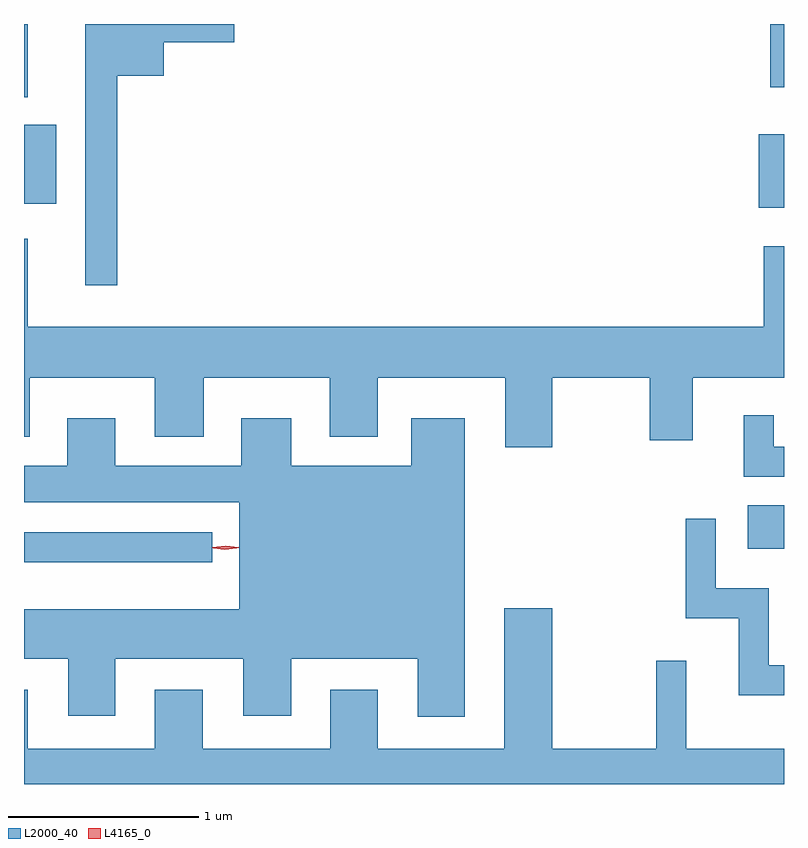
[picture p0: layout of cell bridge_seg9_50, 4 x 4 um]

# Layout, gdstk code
import gdstk
lib = gdstk.Library(unit=1e-6, precision=1e-09)
def R(c, l, rs):  # rectangles x0, y0, x1, y1
    for r in rs: c.add(gdstk.rectangle(r[:2], r[2:], *l))
def P(c, l, *ps):  # polygons
    for p in ps: c.add(gdstk.Polygon(p, *l))
L2000_40 = (2000, 40)
L4165_0 = (4165, 0)

bridge_seg9_50 = lib.new_cell('bridge_seg9_50')
R(bridge_seg9_50, L2000_40, [(1500.138,1990.846,1501.128,1991.004), (1503.946,1990.916,1504.138,1991.144), (1504.006,1992.711,1504.138,1993.099), (1500.138,1992.731,1500.309,1993.149), (1500.138,1993.293,1500.159,1993.678), (1504.066,1993.346,1504.138,1993.678)])
P(bridge_seg9_50, L2000_40, [(1500.629,1993.406),(1500.874,1993.406),(1500.874,1993.581),(1501.244,1993.581),(1501.244,1993.678),(1500.461,1993.678),(1500.461,1992.303),(1500.629,1992.303)],
  [(1502.919,1991.816),(1503.431,1991.816),(1503.431,1991.486),(1503.659,1991.486),(1503.659,1991.816),(1504.138,1991.816),(1504.138,1992.509),(1504.031,1992.509),(1504.031,1992.084),(1500.159,1992.084),(1500.159,1992.548),(1500.138,1992.548),(1500.138,1991.506),(1500.169,1991.506),(1500.169,1991.816),(1500.826,1991.816),(1500.826,1991.506),(1501.084,1991.506),(1501.084,1991.816),(1501.746,1991.816),(1501.746,1991.506),(1501.999,1991.506),(1501.999,1991.816),(1502.671,1991.816),(1502.671,1991.451),(1502.919,1991.451)],
  [(1504.138,1991.454),(1504.084,1991.454),(1504.084,1991.618),(1503.926,1991.618),(1503.926,1991.296),(1504.138,1991.296)],
  [(1502.459,1991.604),(1502.176,1991.604),(1502.176,1991.354),(1501.544,1991.354),(1501.544,1991.604),(1501.281,1991.604),(1501.281,1991.354),(1500.619,1991.354),(1500.619,1991.604),(1500.366,1991.604),(1500.366,1991.354),(1500.138,1991.354),(1500.138,1991.161),(1501.271,1991.161),(1501.271,1990.599),(1500.138,1990.599),(1500.138,1990.336),(1500.371,1990.336),(1500.371,1990.036),(1500.619,1990.036),(1500.619,1990.336),(1501.291,1990.336),(1501.291,1990.036),(1501.544,1990.036),(1501.544,1990.336),(1502.211,1990.336),(1502.211,1990.031),(1502.459,1990.031)],
  [(1504.138,1990.304),(1504.059,1990.304),(1504.059,1990.709),(1503.779,1990.709),(1503.779,1991.073),(1503.621,1991.073),(1503.621,1990.551),(1503.901,1990.551),(1503.901,1990.146),(1504.138,1990.146)],
  [(1504.138,1989.864),(1503.624,1989.864),(1503.624,1990.328),(1503.466,1990.328),(1503.466,1989.864),(1502.919,1989.864),(1502.919,1990.604),(1502.666,1990.604),(1502.666,1989.864),(1501.999,1989.864),(1501.999,1990.174),(1501.751,1990.174),(1501.751,1989.864),(1501.079,1989.864),(1501.079,1990.174),(1500.826,1990.174),(1500.826,1989.864),(1500.159,1989.864),(1500.159,1990.174),(1500.138,1990.174),(1500.138,1989.678),(1504.138,1989.678)])
P(bridge_seg9_50, L4165_0, [(1501.199,1990.913),(1501.13,1990.922),(1501.129,1990.923),(1501.13,1990.923),(1501.199,1990.933),(1501.267,1990.923),(1501.268,1990.923),(1501.267,1990.922)],
  [(1501.195,1990.91),(1501.134,1990.919),(1501.133,1990.92),(1501.134,1990.92),(1501.195,1990.93),(1501.257,1990.92),(1501.258,1990.92),(1501.257,1990.919)])

lib.write_gds('bridge_seg9_50.gds')
